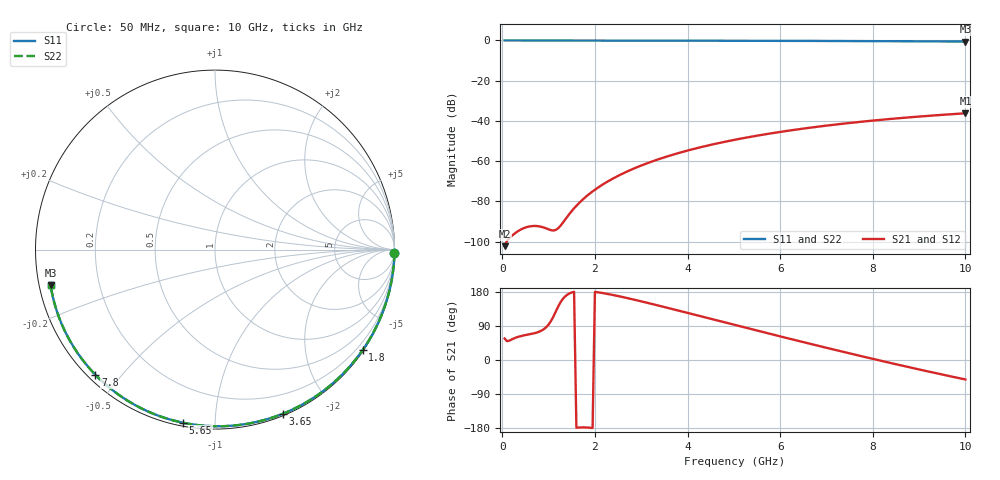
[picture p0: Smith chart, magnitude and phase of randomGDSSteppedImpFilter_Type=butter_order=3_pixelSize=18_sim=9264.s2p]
! freq	dB(S11)	phase(S11)	dB(S12)	phase(S12)
!  dB(S21)	phase(S21)	dB(S22)	phase(S22)
!S-par simulation data
#  GHz  S  DB  R 50
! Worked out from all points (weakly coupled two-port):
!   200 points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, 50 MHz to 10 GHz, reference 50 ohm
!   highest |S21| = -36.21 dB at 10 GHz (marker M1); lowest = -102.3 dB at 50 MHz (marker M2)
!   lowest |S11| = -0.6 dB at 10 GHz (marker M3), VSWR 30.97, Z = 1.63 - j5.38 ohm
!   |S11| at or under -10 dB: nowhere
!   |S22| runs from -0.6 to 0.0 dB; largest |S21 - S12| = 0
!   S11 on the Smith chart (normalised r, x): 50 MHz: open; 1.8 GHz: 0.03, -3.24; 3.65 GHz: 0.02, -1.50; 5.65 GHz: 0.02, -0.83; 7.8 GHz: 0.02, -0.43; 10 GHz: 0.03, -0.11
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0.05  -0.00 -1.0  -102.29 56.7  -102.29 56.7  -0.00 -1.0
0.45  -0.01 -8.7  -93.46 64.5  -93.46 64.5  -0.01 -8.7
0.85  -0.02 -16.4  -92.70 77.8  -92.70 77.8  -0.02 -16.4
1.65  -0.04 -31.5  -81.01 -178.1  -81.01 -178.1  -0.04 -31.5
1.7  -0.04 -32.4  -79.89 -177.8  -79.89 -177.8  -0.04 -32.4
1.75  -0.04 -33.4  -78.82 -177.7  -78.82 -177.7  -0.04 -33.4
1.8  -0.04 -34.3  -77.81 -177.9  -77.81 -177.9  -0.04 -34.3
2.1  -0.05 -39.8  -72.64 178.0  -72.64 178.0  -0.05 -39.8
2.3  -0.06 -43.5  -69.81 173.7  -69.81 173.7  -0.06 -43.5
2.5  -0.06 -47.1  -67.33 168.8  -67.33 168.8  -0.06 -47.1
2.9  -0.07 -54.3  -63.12 157.7  -63.12 157.7  -0.07 -54.3
3.4  -0.08 -63.2  -58.86 142.8  -58.86 142.8  -0.08 -63.2
3.65  -0.09 -67.5  -57.03 135.1  -57.03 135.1  -0.09 -67.5
4.3  -0.11 -78.6  -52.99 114.9  -52.99 114.9  -0.11 -78.6
5.05  -0.14 -90.9  -49.24 91.6  -49.24 91.6  -0.14 -90.9
5.65  -0.17 -100.5  -46.76 73.0  -46.76 73.0  -0.17 -100.5
6.15  -0.19 -108.4  -44.96 57.8  -44.96 57.8  -0.19 -108.4
6.7  -0.23 -116.9  -43.21 41.2  -43.21 41.2  -0.23 -116.9
7.8  -0.31 -133.7  -40.30 8.8  -40.30 8.8  -0.31 -133.7
8.35  -0.36 -142.0  -39.09 -6.9  -39.09 -6.9  -0.36 -142.0
9.2  -0.46 -155.1  -37.49 -30.4  -37.49 -30.4  -0.46 -155.1
10  -0.56 -167.7  -36.21 -51.3  -36.21 -51.3  -0.56 -167.7
